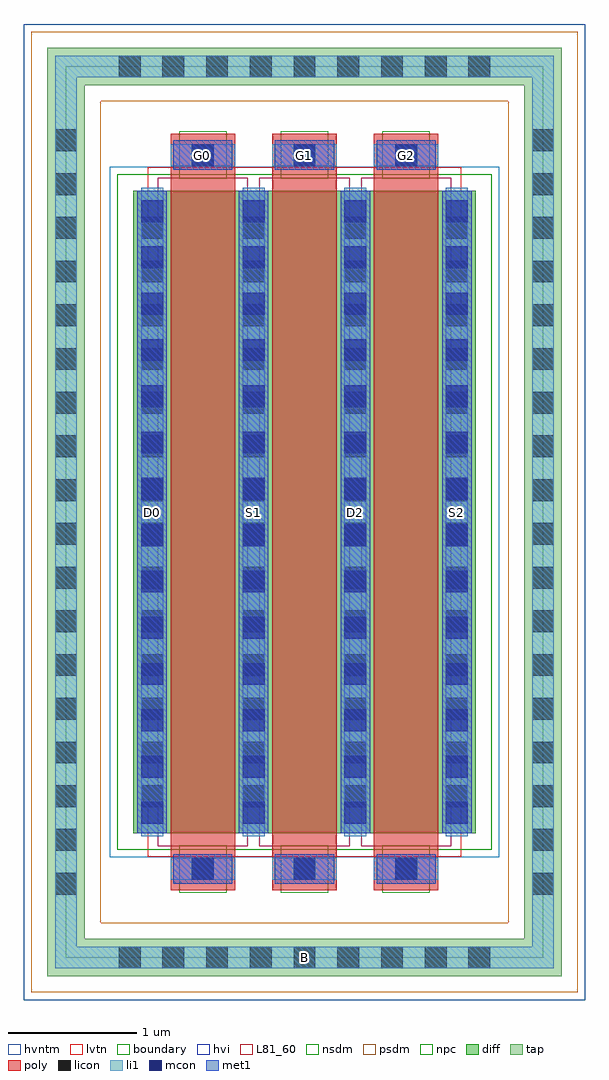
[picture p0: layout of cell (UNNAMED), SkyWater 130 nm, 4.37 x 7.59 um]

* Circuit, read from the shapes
.subckt (UNNAMED) B D0 D2 G0 G1 G2 S1 S2
XM1 S1 G0 D0 B sky130_fd_pr__nfet_05v0_nvt w=5 l=0.5
XM2 D2 G1 S1 B sky130_fd_pr__nfet_05v0_nvt w=5 l=0.5
XM3 S2 G2 D2 B sky130_fd_pr__nfet_05v0_nvt w=5 l=0.5
.ends

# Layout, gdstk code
import gdstk
lib = gdstk.Library(unit=1e-6, precision=1e-09)
def R(c, l, rs):  # rectangles x0, y0, x1, y1
    for r in rs: c.add(gdstk.rectangle(r[:2], r[2:], *l))
def A(c, l, x, y, w, h, nx, ny, dx, dy):  # array of equal rectangles
    R(c, l, [(x+i*dx, y+j*dy, x+i*dx+w, y+j*dy+h) for i in range(nx) for j in range(ny)])
diff = (65, 20)
tap = (65, 44)
poly = (66, 20)
licon = (66, 44)
li1 = (67, 20)
mcon = (67, 44)
met1 = (68, 20)
hvi = (75, 20)
L81_60 = (81, 60)
nsdm = (93, 44)
psdm = (94, 20)
npc = (95, 20)
hvntm = (125, 20)
lvtn = (125, 44)
boundary = (235, 4)

c__unnamed_ = lib.new_cell('(UNNAMED)')
R(c__unnamed_, diff, [(-1.33,-2.5,1.33,2.5)])
R(c__unnamed_, tap, [(-2,-3.61,2,-3.32), (-2,-3.32,-1.71,3.32), (1.71,-3.32,2,3.32), (-2,3.32,2,3.61)])
A(c__unnamed_, poly, -1.04, -2.94, 0.5, 5.88, 3, 1, 0.79, 0)
A(c__unnamed_, licon, -1.445, -3.55, 0.17, 0.17, 9, 2, 0.34, 6.93)
A(c__unnamed_, licon, -1.94, -2.975, 0.17, 0.17, 1, 18, 0, 0.34)
A(c__unnamed_, licon, 1.77, -2.975, 0.17, 0.17, 1, 18, 0, 0.34)
A(c__unnamed_, licon, -0.875, -2.86, 0.17, 0.17, 3, 2, 0.79, 5.55)
A(c__unnamed_, licon, -1.27, -2.295, 0.17, 0.17, 4, 14, 0.79, 0.34)
A(c__unnamed_, li1, -1.04, -2.86, 0.5, 0.17, 3, 2, 0.79, 5.55)
A(c__unnamed_, li1, -1.27, -2.52, 0.17, 5.04, 4, 1, 0.79, 0)
R(c__unnamed_, li1, [(-1.94,-3.55,1.94,-3.38), (-1.94,-3.38,-1.77,3.38), (1.77,-3.38,1.94,3.38), (-1.94,3.38,1.94,3.55)])
A(c__unnamed_, mcon, -0.875, -2.86, 0.17, 0.17, 3, 2, 0.79, 5.55)
A(c__unnamed_, mcon, -1.27, -2.425, 0.17, 0.17, 4, 14, 0.79, 0.36)
A(c__unnamed_, met1, -1.02, -2.89, 0.46, 0.23, 3, 2, 0.79, 5.55)
A(c__unnamed_, met1, -1.3, -2.5, 0.23, 5, 4, 1, 0.79, 0)
R(c__unnamed_, hvi, [(-2.185,-3.795,2.185,3.795)])
A(c__unnamed_, L81_60, -1.14, -2.6, 0.7, 5.2, 3, 1, 0.79, 0)
R(c__unnamed_, nsdm, [(-1.455,-2.625,1.455,2.625)])
R(c__unnamed_, psdm, [(-2.125,-3.735,2.125,-3.195), (-2.125,-3.195,-1.585,3.195), (1.585,-3.195,2.125,3.195), (-2.125,3.195,2.125,3.735)])
A(c__unnamed_, npc, -0.975, -2.96, 0.37, 0.37, 3, 2, 0.79, 5.55)
R(c__unnamed_, hvntm, [(-1.515,-2.685,1.515,2.685)])
R(c__unnamed_, lvtn, [(-1.22,-2.68,1.22,2.68)])
R(c__unnamed_, boundary, [(-1.855,-3.465,1.855,3.465)])
c__unnamed_.add(gdstk.Label('B', (0,-3.465), layer=67, texttype=5))
c__unnamed_.add(gdstk.Label('D0', (-1.185,0), layer=67, texttype=5))
c__unnamed_.add(gdstk.Label('G0', (-0.79,2.775), layer=67, texttype=5))
c__unnamed_.add(gdstk.Label('S1', (-0.395,0), layer=67, texttype=5))
c__unnamed_.add(gdstk.Label('G1', (0,2.775), layer=67, texttype=5))
c__unnamed_.add(gdstk.Label('D2', (0.395,0), layer=67, texttype=5))
c__unnamed_.add(gdstk.Label('S2', (1.185,0), layer=67, texttype=5))
c__unnamed_.add(gdstk.Label('G2', (0.79,2.775), layer=67, texttype=5))

lib.write_gds('_UNNAMED_.gds')
